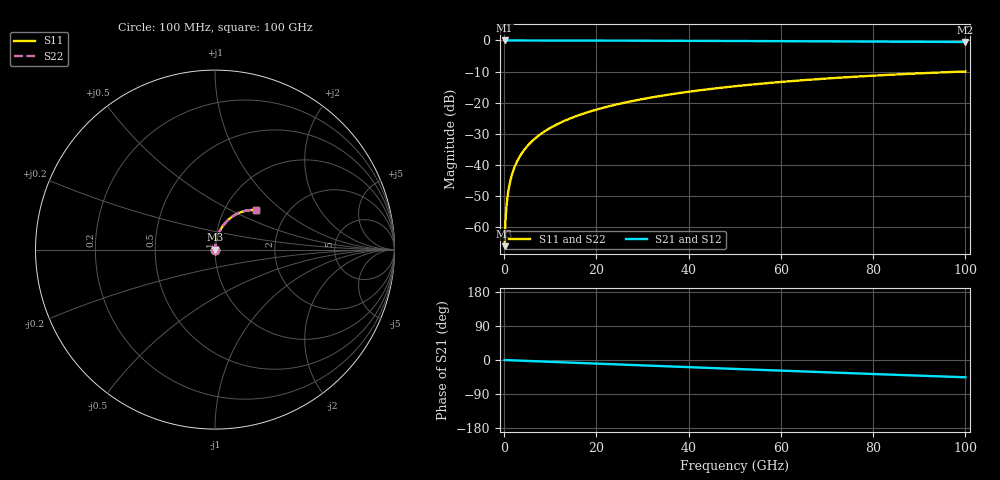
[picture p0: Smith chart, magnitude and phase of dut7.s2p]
! Touchstone file exported from HFSS 2026.1.0
!  File:  C:/ffzhzh/LocalFiles/Ansys_Project_Files/temp_train_TSV_7_1783504167_9504.aedt
!  Generated:  05:50:56 PM Jul  8, 2026
!  Design:  TSV
!  Project:  temp_train_TSV_7_1783504167_9504
! Variables:
!  h_bsmrdl = 2um
!  h_ox = 20um
!  h_rdl = 5um
!  h_sub = 80.06um
!  h_tmrdl = 5um
!  h_tsv = 80.06um
!  h_via = 3um
!  l_bsmrdl = 300um
!  l_sub = 413.3um
!  l_tmrdl = 200um
!  m_sub = 200um
!  pitch = 54.77um
!  r_tsv = 6.65um
!  s_tmrdl = 10um
!  w_bsmrdl = 18um
!  w_sub = 500um
!  w_tmrdl = 12um
!  x_tsv_center1 = 206um
!  x_tsv_center2 = 524um
!  x_tsv_center3 = 736um
!  x_tsv_center4 = 1054um
!  x_tsv_center5 = 1266um
!  x_tsv_center6 = 1584um
# GHz S MA R 50.000000
! Terminal data exported
! Port[1] = TSV1_1_T1
! Port[2] = TSV1_1_T2
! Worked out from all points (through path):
!   1000 points, 100 MHz to 100 GHz, reference 50 ohm
!   highest |S21| = 0.00 dB at 100 MHz (marker M1); lowest = -0.5 dB at 100 GHz (marker M2)
!   group delay of S21, straight-line fit = 1.27 ps
!   lowest |S11| = -66.1 dB at 100 MHz (marker M3), VSWR 1.00, Z = 50 + j0.0431 ohm
!   |S11| at or under -10 dB: start of sweep to 99.48 GHz
!   |S22| runs from -66.1 to -10.0 dB; largest |S21 - S12| = 4.1e-15
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0.1  0.0004932 60.8  0.9998 -0.1  0.9998 -0.1  0.0004932 60.8
! Gamma 0 0 0 0
! Port Impedance 50 0 50 0
0.3  0.001302 78.0  0.9997 -0.1  0.9997 -0.1  0.001302 78.0
0.7  0.002937 83.4  0.9997 -0.3  0.9997 -0.3  0.002937 83.4
0.8  0.003345 83.9  0.9997 -0.4  0.9997 -0.4  0.003345 83.9
1  0.004159 84.6  0.9996 -0.5  0.9996 -0.5  0.004159 84.6
1.3  0.005375 85.1  0.9996 -0.6  0.9996 -0.6  0.005375 85.1
1.7  0.006984 85.4  0.9995 -0.8  0.9995 -0.8  0.006984 85.4
2.3  0.009372 85.5  0.9994 -1.1  0.9994 -1.1  0.009372 85.5
3  0.01213 85.5  0.9993 -1.5  0.9993 -1.5  0.01213 85.5
3.8  0.01526 85.4  0.9992 -1.8  0.9992 -1.8  0.01526 85.4
4.8  0.01915 85.2  0.999 -2.3  0.999 -2.3  0.01915 85.2
6  0.02381 84.9  0.9988 -2.9  0.9988 -2.9  0.02381 84.9
8.8  0.03464 83.9  0.9983 -4.2  0.9983 -4.2  0.03464 83.9
12.4  0.04847 82.5  0.9975 -5.9  0.9975 -5.9  0.04847 82.5
16.8  0.06521 80.6  0.9963 -8.0  0.9963 -8.0  0.06521 80.6
24.2  0.09294 77.3  0.9938 -11.5  0.9938 -11.5  0.09295 77.3
33.4  0.1265 73.2  0.9898 -15.9  0.9898 -15.9  0.1265 73.2
41.2  0.1539 69.6  0.9857 -19.5  0.9857 -19.5  0.1539 69.6
50.1  0.1839 65.6  0.9804 -23.6  0.9804 -23.6  0.1839 65.6
66.7  0.2352 58.2  0.969 -31.1  0.969 -31.1  0.2352 58.2
83.4  0.2802 51.0  0.9568 -38.5  0.9568 -38.5  0.2802 51.0
100  0.3173 43.9  0.9449 -45.6  0.9449 -45.6  0.3173 43.9
